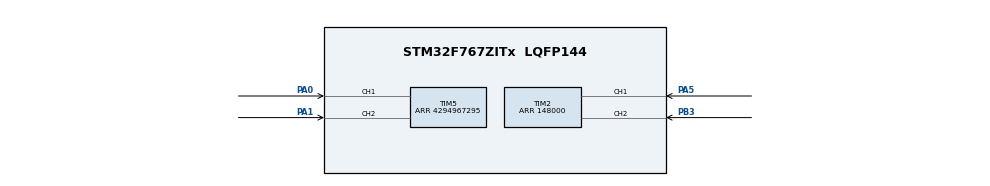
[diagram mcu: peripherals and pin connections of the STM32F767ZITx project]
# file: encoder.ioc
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Mcu.Family=STM32F7
Mcu.Name=STM32F767ZITx
Mcu.Package=LQFP144
NVIC.PriorityGroup=NVIC_PRIORITYGROUP_4
PA0/WKUP.Signal=S_TIM5_CH1
PA1.Signal=S_TIM5_CH2
PA5.GPIO_PuPd=GPIO_PULLUP
PA5.Signal=S_TIM2_CH1_ETR
PB3.GPIO_PuPd=GPIO_PULLUP
PB3.Signal=S_TIM2_CH2
ProjectManager.HeapSize=0x200
ProjectManager.StackSize=0x400
ProjectManager.TargetToolchain=STM32CubeIDE
RCC.HSE_VALUE=25000000
RCC.HSI_VALUE=16000000
RCC.LSE_VALUE=32768
RCC.USBFreq_Value=96000000
RCC.VCOOutputFreq_Value=192000000
SH.S_TIM2_CH1_ETR.0=TIM2_CH1,Encoder_Interface
SH.S_TIM2_CH2.0=TIM2_CH2,Encoder_Interface
SH.S_TIM5_CH1.0=TIM5_CH1,Encoder_Interface
SH.S_TIM5_CH2.0=TIM5_CH2,Encoder_Interface
TIM2.AutoReloadPreload=TIM_AUTORELOAD_PRELOAD_DISABLE
TIM2.CounterMode=TIM_COUNTERMODE_UP
TIM2.EncoderMode=TIM_ENCODERMODE_TI12
TIM2.IC1Polarity=TIM_ICPOLARITY_FALLING
TIM2.IC1Prescaler=TIM_ICPSC_DIV1
TIM2.IC2Polarity=TIM_ICPOLARITY_FALLING
TIM2.Period=148000
TIM5.Period=4294967295
board=custom

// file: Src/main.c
/* USER CODE BEGIN Header */
/**
 ******************************************************************************
 * @file           : main.c
 * @brief          : Main program body
 ******************************************************************************
 * @attention
 *
 * <h2><center>&copy; Copyright (c) 2019 STMicroelectronics.
 * All rights reserved.</center></h2>
 *
 * This software component is licensed by ST under BSD 3-Clause license,
 * the "License"; You may not use this file except in compliance with the
 * License. You may obtain a copy of the License at:
 *                        opensource.org/licenses/BSD-3-Clause
 *
 ******************************************************************************
 */
/* USER CODE END Header */

#include "main.h"

TIM_HandleTypeDef htim2;
TIM_HandleTypeDef htim5;

void SystemClock_Config(void);
static void MX_GPIO_Init(void);
static void MX_TIM2_Init(void);
static void MX_TIM5_Init(void);

int main(void)
{

  /* MCU Configuration--------------------------------------------------------*/

  /* Reset of all peripherals, Initializes the Flash interface and the Systick. */
  HAL_Init();

  /* Configure the system clock */
  SystemClock_Config();

  /* Initialize all configured peripherals */
  MX_GPIO_Init();
  MX_TIM2_Init();
  MX_TIM5_Init();
  /* USER CODE BEGIN 2 */
  HAL_TIM_Encoder_Start(&htim2, TIM_CHANNEL_ALL);
  HAL_TIM_Encoder_Start(&htim5, TIM_CHANNEL_ALL);
  /* USER CODE END 2 */

  /* Infinite loop */
  /* USER CODE BEGIN WHILE */
	uint32_t i = 0;
	while (1) {
    /* USER CODE END WHILE */

    /* USER CODE BEGIN 3 */
		/*
		 * un giro completo usando risoluzione 4x (encoder mode TI1 and TI2) è 148000
		 * un giro completo usando risoluzione 2x è 74000
		 */
		i = TIM2->CNT;
		i = TIM2->CNT;
		i = TIM2->CNT;
		i = TIM2->CNT;
		i = TIM2->CNT;
		i = TIM2->CNT;
		i = TIM2->CNT;
		i = TIM2->CNT;
		i = TIM2->CNT;
		i = TIM2->CNT;
		i = TIM2->CNT;
		i = TIM2->CNT;
		i = TIM2->CNT;
		i = TIM2->CNT;
		i = TIM2->CNT;
		i = TIM2->CNT;

		TIM2->CNT=0;
	}
  /* USER CODE END 3 */
}

void SystemClock_Config(void)
{
  RCC_OscInitTypeDef RCC_OscInitStruct = {0};
  RCC_ClkInitTypeDef RCC_ClkInitStruct = {0};

  /** Configure the main internal regulator output voltage
  */
  __HAL_RCC_PWR_CLK_ENABLE();
  __HAL_PWR_VOLTAGESCALING_CONFIG(PWR_REGULATOR_VOLTAGE_SCALE3);
  /** Initializes the CPU, AHB and APB busses clocks
  */
  RCC_OscInitStruct.OscillatorType = RCC_OSCILLATORTYPE_HSI;
  RCC_OscInitStruct.HSIState = RCC_HSI_ON;
  RCC_OscInitStruct.HSICalibrationValue = RCC_HSICALIBRATION_DEFAULT;
  RCC_OscInitStruct.PLL.PLLState = RCC_PLL_NONE;
  if (HAL_RCC_OscConfig(&RCC_OscInitStruct) != HAL_OK)
  {
    Error_Handler();
  }
  /** Initializes the CPU, AHB and APB busses clocks
  */
  RCC_ClkInitStruct.ClockType = RCC_CLOCKTYPE_HCLK|RCC_CLOCKTYPE_SYSCLK
                              |RCC_CLOCKTYPE_PCLK1|RCC_CLOCKTYPE_PCLK2;
  RCC_ClkInitStruct.SYSCLKSource = RCC_SYSCLKSOURCE_HSI;
  RCC_ClkInitStruct.AHBCLKDivider = RCC_SYSCLK_DIV1;
  RCC_ClkInitStruct.APB1CLKDivider = RCC_HCLK_DIV1;
  RCC_ClkInitStruct.APB2CLKDivider = RCC_HCLK_DIV1;

  if (HAL_RCC_ClockConfig(&RCC_ClkInitStruct, FLASH_LATENCY_0) != HAL_OK)
  {
    Error_Handler();
  }
}

static void MX_TIM2_Init(void)
{

  TIM_Encoder_InitTypeDef sConfig = {0};
  TIM_MasterConfigTypeDef sMasterConfig = {0};

  htim2.Instance = TIM2;
  htim2.Init.Prescaler = 0;
  htim2.Init.CounterMode = TIM_COUNTERMODE_UP;
  htim2.Init.Period = 148000;
  htim2.Init.ClockDivision = TIM_CLOCKDIVISION_DIV1;
  htim2.Init.AutoReloadPreload = TIM_AUTORELOAD_PRELOAD_DISABLE;
  sConfig.EncoderMode = TIM_ENCODERMODE_TI12;
  sConfig.IC1Polarity = TIM_ICPOLARITY_FALLING;
  sConfig.IC1Selection = TIM_ICSELECTION_DIRECTTI;
  sConfig.IC1Prescaler = TIM_ICPSC_DIV1;
  sConfig.IC1Filter = 0;
  sConfig.IC2Polarity = TIM_ICPOLARITY_FALLING;
  sConfig.IC2Selection = TIM_ICSELECTION_DIRECTTI;
  sConfig.IC2Prescaler = TIM_ICPSC_DIV1;
  sConfig.IC2Filter = 0;
  if (HAL_TIM_Encoder_Init(&htim2, &sConfig) != HAL_OK)
  {
    Error_Handler();
  }
  sMasterConfig.MasterOutputTrigger = TIM_TRGO_RESET;
  sMasterConfig.MasterSlaveMode = TIM_MASTERSLAVEMODE_DISABLE;
  if (HAL_TIMEx_MasterConfigSynchronization(&htim2, &sMasterConfig) != HAL_OK)
  {
    Error_Handler();
  }

}

static void MX_TIM5_Init(void)
{

  TIM_Encoder_InitTypeDef sConfig = {0};
  TIM_MasterConfigTypeDef sMasterConfig = {0};

  htim5.Instance = TIM5;
  htim5.Init.Prescaler = 0;
  htim5.Init.CounterMode = TIM_COUNTERMODE_UP;
  htim5.Init.Period = 4294967295;
  htim5.Init.ClockDivision = TIM_CLOCKDIVISION_DIV1;
  htim5.Init.AutoReloadPreload = TIM_AUTORELOAD_PRELOAD_DISABLE;
  sConfig.EncoderMode = TIM_ENCODERMODE_TI1;
  sConfig.IC1Polarity = TIM_ICPOLARITY_RISING;
  sConfig.IC1Selection = TIM_ICSELECTION_DIRECTTI;
  sConfig.IC1Prescaler = TIM_ICPSC_DIV1;
  sConfig.IC1Filter = 0;
  sConfig.IC2Polarity = TIM_ICPOLARITY_RISING;
  sConfig.IC2Selection = TIM_ICSELECTION_DIRECTTI;
  sConfig.IC2Prescaler = TIM_ICPSC_DIV1;
  sConfig.IC2Filter = 0;
  if (HAL_TIM_Encoder_Init(&htim5, &sConfig) != HAL_OK)
  {
    Error_Handler();
  }
  sMasterConfig.MasterOutputTrigger = TIM_TRGO_RESET;
  sMasterConfig.MasterSlaveMode = TIM_MASTERSLAVEMODE_DISABLE;
  if (HAL_TIMEx_MasterConfigSynchronization(&htim5, &sMasterConfig) != HAL_OK)
  {
    Error_Handler();
  }

}

static void MX_GPIO_Init(void)
{

  /* GPIO Ports Clock Enable */
  __HAL_RCC_GPIOA_CLK_ENABLE();
  __HAL_RCC_GPIOB_CLK_ENABLE();

}

void Error_Handler(void)
{
}

/************************ (C) COPYRIGHT STMicroelectronics *****END OF FILE****/
